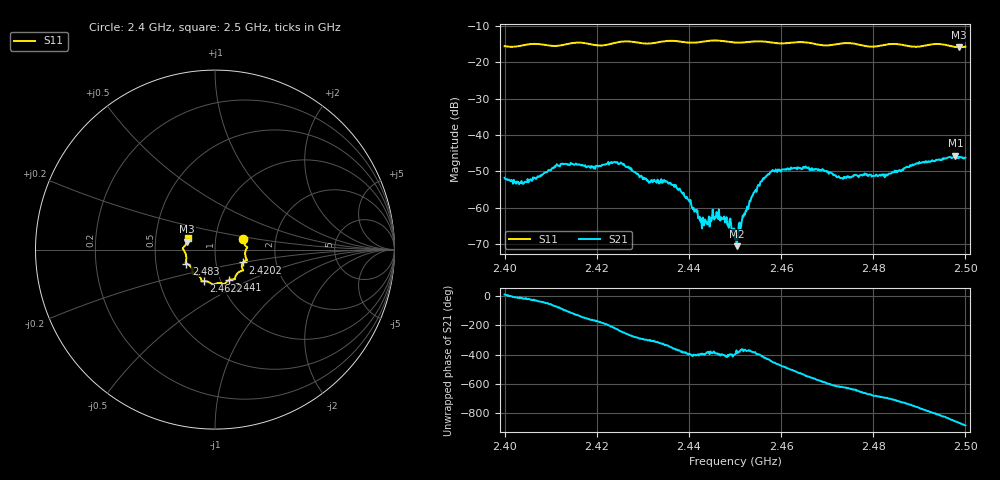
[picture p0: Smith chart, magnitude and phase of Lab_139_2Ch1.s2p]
# Hz S RI R
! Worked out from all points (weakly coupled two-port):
!   601 points, 2.4 GHz to 2.5 GHz, reference 50 ohm
!   highest |S21| = -45.70 dB at 2.4978 GHz (marker M1); lowest = -70.6 dB at 2.4503 GHz (marker M2)
!   lowest |S11| = -15.8 dB at 2.4987 GHz (marker M3), VSWR 1.39, Z = 36.4 + j3.28 ohm
!   |S11| at or under -10 dB: start of sweep to end of sweep
!   S12 and S22 are empty: the file has one direction only
!   S11 on the Smith chart (normalised r, x): 2.4 GHz: 1.36, +0.17; 2.4202 GHz: 1.35, -0.20; 2.441 GHz: 1.09, -0.39; 2.4622 GHz: 0.83, -0.30; 2.483 GHz: 0.72, -0.12; 2.5 GHz: 0.73, +0.09
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2.4e9  0.1563 0.0601  0.00253 0.000475  0 0  0 0
2.404333e9  0.1732 0.0183  0.00217 -0.000619  0 0  0 0
2.411333e9  0.1675 -0.0228  0.00119 -0.00378  0 0  0 0
2.416667e9  0.1776 -0.0585  -0.00291 -0.00243  0 0  0 0
2.420167e9  0.1561 -0.0717  -0.00375 -0.000475  0 0  0 0
2.4255e9  0.1567 -0.1147  -0.00182 0.00361  0 0  0 0
2.433333e9  0.1129 -0.1523  0.00168 0.00167  0 0  0 0
2.4375e9  0.1063 -0.165  0.00181 -0.000188  0 0  0 0
2.441e9  0.0768 -0.1706  0.000776 -0.000619  0 0  0 0
2.443e9  0.0614 -0.1833  0.000588 -0.000432  0 0  0 0
2.447667e9  0.0454 -0.1907  0.000537 -0.000529  0 0  0 0
2.45e9  0.0267 -0.1861  0.000295 -0.00022  0 0  0 0
2.450333e9  0.0235 -0.186  0.000289 -5.13e-05  0 0  0 0
2.456e9  -0.0139 -0.1941  0.00161 -0.00186  0 0  0 0
2.462167e9  -0.0632 -0.1763  -0.00281 -0.00222  0 0  0 0
2.466667e9  -0.0766 -0.1669  -0.00336 0.001  0 0  0 0
2.473167e9  -0.1218 -0.1364  -0.000513 0.0025  0 0  0 0
2.483e9  -0.1592 -0.0779  0.00247 0.00125  0 0  0 0
2.483333e9  -0.1607 -0.0773  0.00273 0.00106  0 0  0 0
2.497833e9  -0.1601 0.0332  -0.00372 -0.00361  0 0  0 0
2.498667e9  -0.1559 0.0439  -0.00393 -0.00281  0 0  0 0
2.5e9  -0.153 0.0626  -0.00466 -0.0015  0 0  0 0
